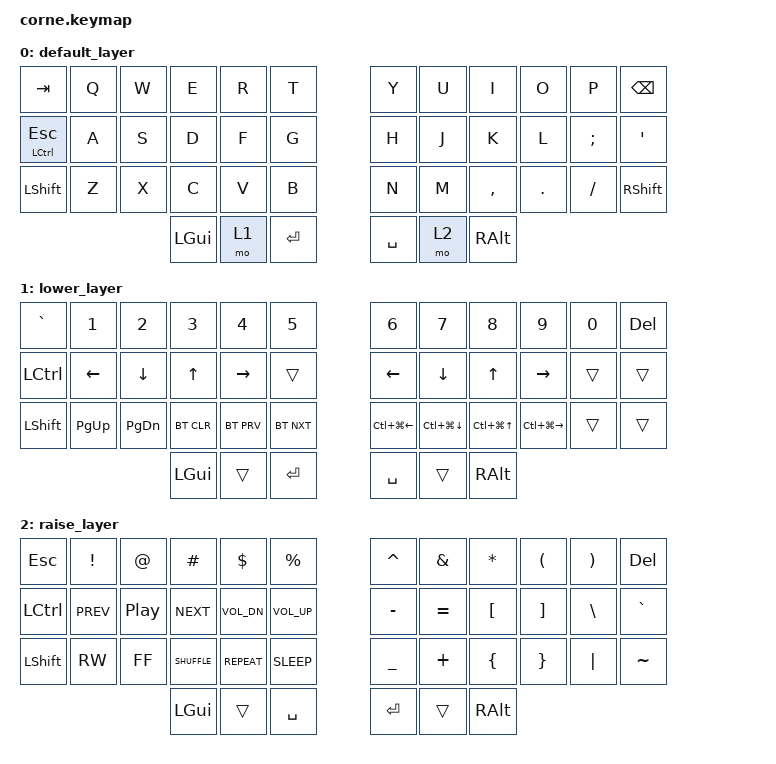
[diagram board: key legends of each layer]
/*
 * Copyright (c) 2020 The ZMK Contributors
 *
 * SPDX-License-Identifier: MIT
 */

#include <behaviors.dtsi>
#include <dt-bindings/zmk/bt.h>
#include <dt-bindings/zmk/keys.h>
#include <dt-bindings/zmk/behaviors.h>

/ {
    keymap {
        compatible = "zmk,keymap";

        default_layer {
            // -----------------------------------------------------------------------------------------
            // | ESC      |  Q  |  W  |  E  |  R  |  T  |   |  Y  |  U   |  I  |  O  |  P  | BKSP |
            // | CTRL ESC |  A  |  S  |  D  |  F  |  G  |   |  H  |  J   |  K  |  L  |  ;  |   '  |
            // | SHFT     |  Z  |  X  |  C  |  V  |  B  |   |  N  |  M   |  ,  |  .  |  /  | SHFT  |
            //                    | GUI | LWR | ENT |   | SPACE | RSE  | ALT |

            bindings = <
&kp TAB       &kp Q  &kp W  &kp E     &kp R  &kp T        &kp Y    &kp U  &kp I      &kp O    &kp P     &kp BSPC
&mt LCTRL ESC &kp A  &kp S  &kp D     &kp F  &kp G        &kp H    &kp J  &kp K      &kp L    &kp SEMI  &kp SQT
&kp LSHFT     &kp Z  &kp X  &kp C     &kp V  &kp B        &kp N    &kp M  &kp COMMA  &kp DOT  &kp FSLH  &kp RSHFT
                            &kp LGUI  &mo 1  &kp RET      &kp SPACE  &mo 2  &kp RALT
            >;
        };

        lower_layer {
            // -----------------------------------------------------------------------------------------
            // |   `  |   1   |   2   |   3   |  4    |    5  |   |    6    |    7    |   8    |    9    |  0  |  DEL |
            // | CTLR |  LFT  |  DWN  |   UP  | RGT   |       |   |   LFT   |   DWN   |   UP   |   RGT   |     |      |
            // | SHFT | PG_UP | PG_DN | BTCLR | BTPRV | BTNXT |   | LCLGLFT | LCLGDWN | LCLGUP | LCLGRGT |     |      |
            //                        |  GUI  |       | ENT   |   |   SPC   |         |   ALT  |

            bindings = <
&kp GRAVE   &kp N1     &kp N2      &kp N3      &kp N4        &kp N5      &kp N6           &kp N7           &kp N8         &kp N9            &kp N0  &kp DEL
&kp LCTRL   &kp LEFT   &kp DOWN    &kp UP      &kp RIGHT     &trans      &kp LEFT         &kp DOWN         &kp UP         &kp RIGHT         &trans  &trans
&kp LSHFT   &kp PG_UP  &kp PG_DN   &bt BT_CLR  &bt BT_PRV    &bt BT_NXT  &kp LC(LG(LEFT)) &kp LC(LG(DOWN)) &kp LC(LG(UP)) &kp LC(LG(RIGHT)) &trans  &trans
                                   &kp LGUI    &trans        &kp RET     &kp SPACE        &trans    &kp RALT
            >;
        };

        raise_layer {
            // -----------------------------------------------------------------------------------------
            // |  TAB |   !  |  @  |   #   |   $  |    %   |   |  ^  |  &  |  *  |  (  |  )  | DEL |
            // | CTRL | MPRV | MPP | MNXT  | VOLD |  VOLU  |   |  -  |  =  |  [  |  ]  |  \  |  `   |
            // | SHFT | MRW  | MFF | MSHFL | MRPT | CSLEEP |   |  _  |  +  |  {  |  }  | "|" |  ~   |
            //                     |  GUI  |      |   SPC  |   | ENT |     | ALT |

            bindings = <
&kp ESC    &kp EXCL    &kp AT    &kp HASH      &kp DLLR      &kp PRCNT       &kp CARET  &kp AMPS   &kp ASTRK  &kp LPAR  &kp RPAR  &kp DEL
&kp LCTRL  &kp C_PREV  &kp C_PP  &kp C_NEXT    &kp C_VOL_DN  &kp C_VOL_UP    &kp MINUS  &kp EQUAL  &kp LBKT   &kp RBKT  &kp BSLH  &kp GRAVE
&kp LSHFT  &kp C_RW    &kp C_FF  &kp C_SHUFFLE &kp C_REPEAT  &kp C_SLEEP     &kp UNDER  &kp PLUS   &kp LBRC   &kp RBRC  &kp PIPE  &kp TILDE
                                 &kp LGUI      &trans        &kp SPACE       &kp RET    &trans     &kp RALT
            >;
        };
    };
};
